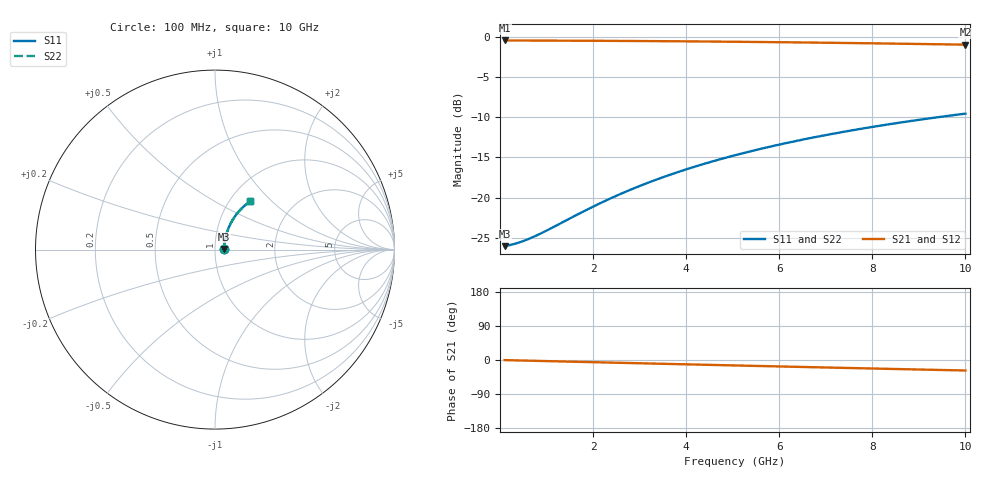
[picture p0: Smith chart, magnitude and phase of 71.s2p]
# Hz S RI R 50.00
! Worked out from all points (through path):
!   100 points, 100 MHz to 10 GHz, reference 50 ohm
!   highest |S21| = -0.44 dB at 100 MHz (marker M1); lowest = -1.0 dB at 10 GHz (marker M2)
!   group delay of S21, straight-line fit = 7.71 ps
!   lowest |S11| = -26.1 dB at 100 MHz (marker M3), VSWR 1.10, Z = 55.2 + j0.367 ohm
!   |S11| at or under -10 dB: start of sweep to 9.407 GHz
!   |S22| runs from -26.1 to -9.6 dB; largest |S21 - S12| = 0
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1e8  0.0497 0.00332  0.9503 -0.00478  0.9503 -0.00478  0.0497 0.00332
3e8  0.0504 0.00994  0.9496 -0.0143  0.9496 -0.0143  0.0504 0.00994
4e8  0.0507 0.0132  0.9493 -0.0191  0.9493 -0.0191  0.0507 0.0132
5e8  0.051 0.0165  0.949 -0.0238  0.949 -0.0238  0.051 0.0165
7e8  0.0516 0.0231  0.9483 -0.0333  0.9483 -0.0333  0.0516 0.0231
1e9  0.0528 0.033  0.9471 -0.0476  0.9471 -0.0476  0.0528 0.033
1.8e9  0.0571 0.059  0.9425 -0.0853  0.9425 -0.0853  0.0571 0.059
2.2e9  0.0599 0.0718  0.9395 -0.104  0.9395 -0.104  0.0599 0.0718
2.6e9  0.0633 0.0845  0.936 -0.1225  0.936 -0.1225  0.0633 0.0845
3e9  0.0671 0.097  0.9319 -0.1409  0.9319 -0.1409  0.0671 0.097
3.4e9  0.0713 0.1094  0.9274 -0.159  0.9274 -0.159  0.0713 0.1094
3.8e9  0.0761 0.1214  0.9223 -0.177  0.9223 -0.177  0.0761 0.1214
4.2e9  0.0813 0.1333  0.9168 -0.1947  0.9168 -0.1947  0.0813 0.1333
4.6e9  0.0869 0.1449  0.9107 -0.2122  0.9107 -0.2122  0.0869 0.1449
5.1e9  0.0945 0.159  0.9026 -0.2336  0.9026 -0.2336  0.0945 0.159
5.5e9  0.101 0.17  0.8956 -0.2504  0.8956 -0.2504  0.101 0.17
5.9e9  0.108 0.1806  0.8881 -0.267  0.8881 -0.267  0.108 0.1806
6.7e9  0.1229 0.2009  0.8721 -0.299  0.8721 -0.299  0.1229 0.2009
7.5e9  0.1392 0.2197  0.8545 -0.3297  0.8545 -0.3297  0.1392 0.2197
8.4e9  0.1588 0.2391  0.8333 -0.3624  0.8333 -0.3624  0.1588 0.2391
9.2e9  0.1773 0.2547  0.8132 -0.3899  0.8132 -0.3899  0.1773 0.2547
1e10  0.1967 0.2686  0.7921 -0.4157  0.7921 -0.4157  0.1967 0.2686
